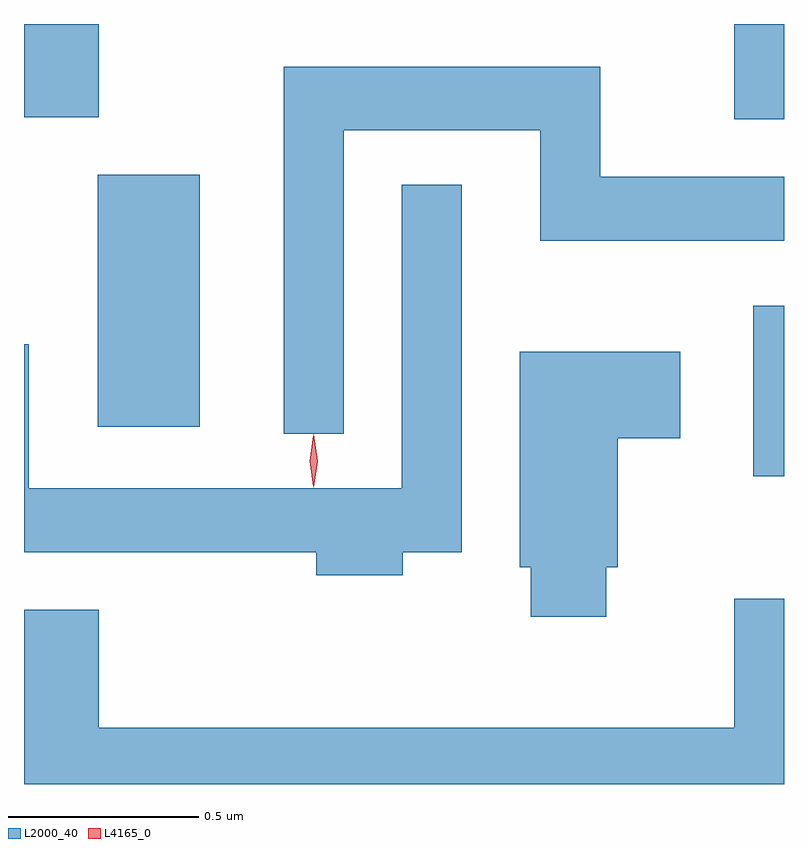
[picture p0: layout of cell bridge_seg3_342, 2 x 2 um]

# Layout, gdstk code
import gdstk
lib = gdstk.Library(unit=1e-6, precision=1e-09)
def R(c, l, rs):  # rectangles x0, y0, x1, y1
    for r in rs: c.add(gdstk.rectangle(r[:2], r[2:], *l))
def P(c, l, *ps):  # polygons
    for p in ps: c.add(gdstk.Polygon(p, *l))
L2000_40 = (2000, 40)
L4165_0 = (4165, 0)

bridge_seg3_342 = lib.new_cell('bridge_seg3_342')
R(bridge_seg3_342, L2000_40, [(528.901,1162.466,528.982,1162.914), (527.176,1162.596,527.444,1163.259), (528.851,1163.406,528.982,1163.656), (526.982,1163.411,527.179,1163.656)])
P(bridge_seg3_342, L2000_40, [(527.824,1163.376),(528.341,1163.376),(528.341,1163.086),(528.982,1163.086),(528.982,1163.254),(528.499,1163.254),(528.499,1163.544),(527.666,1163.544),(527.666,1162.578),(527.824,1162.578)],
  [(527.979,1162.266),(528.134,1162.266),(528.134,1163.233),(527.976,1163.233),(527.976,1162.434),(526.994,1162.434),(526.994,1162.813),(526.982,1162.813),(526.982,1162.266),(527.751,1162.266),(527.751,1162.206),(527.979,1162.206)],
  [(528.514,1162.226),(528.544,1162.226),(528.544,1162.566),(528.709,1162.566),(528.709,1162.794),(528.286,1162.794),(528.286,1162.226),(528.316,1162.226),(528.316,1162.096),(528.514,1162.096)],
  [(528.982,1162.144),(528.851,1162.144),(528.851,1161.804),(527.179,1161.804),(527.179,1162.114),(526.982,1162.114),(526.982,1161.656),(528.982,1161.656)])
P(bridge_seg3_342, L4165_0, [(527.744,1162.439),(527.743,1162.44),(527.734,1162.506),(527.743,1162.572),(527.744,1162.573),(527.744,1162.572),(527.754,1162.506),(527.744,1162.44)],
  [(527.744,1162.437),(527.735,1162.506),(527.744,1162.576),(527.745,1162.576),(527.745,1162.576),(527.755,1162.506),(527.745,1162.437),(527.745,1162.437)])

lib.write_gds('bridge_seg3_342.gds')
